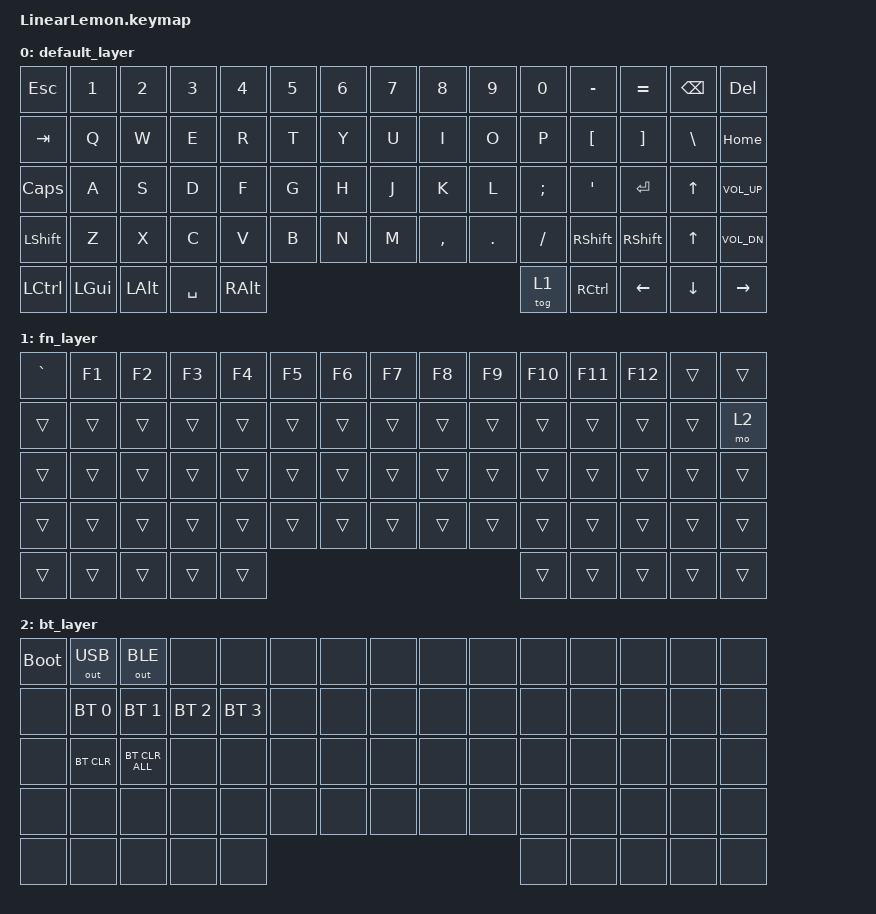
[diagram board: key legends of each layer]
#include <behaviors.dtsi>
#include <dt-bindings/zmk/bt.h>
#include <dt-bindings/zmk/keys.h>
#include <dt-bindings/zmk/outputs.h>


/ {
    keymap {
        compatible = "zmk,keymap";

        default_layer {
            bindings = <
    &kp ESC   &kp N1   &kp N2   &kp N3    &kp N4 &kp N5  &kp N6  &kp N7   &kp N8   &kp N9     &kp N0    &kp MINUS &kp EQUAL &kp BSPC &kp DEL
    &kp TAB   &kp Q    &kp W    &kp E     &kp R  &kp T   &kp Y   &kp U    &kp I     &kp O     &kp P     &kp LBKT  &kp RBKT  &kp BSLH &kp HOME
    &kp CAPSLOCK &kp A &kp S    &kp D     &kp F  &kp G   &kp H   &kp J    &kp K     &kp L     &kp SEMI  &kp SQT   &kp RET   &kp UP   &kp C_VOL_UP 
    &kp LSHFT &kp Z    &kp X    &kp C     &kp V  &kp B   &kp N   &kp M    &kp COMMA &kp DOT   &kp FSLH  &kp RSHFT &kp RSHFT &kp UP   &kp C_VOL_DN
    &kp LCTRL &kp LGUI &kp LALT                          &kp SPACE                  &kp RALT  &tog 1    &kp RCTRL &kp LEFT  &kp DOWN &kp RIGHT
            >;
        };

    fn_layer {
        bindings = <
    &kp GRAVE  &kp F1       &kp F2       &kp F3       &kp F4 &kp F5 &kp F6 /**/ &kp F7 &kp F8 &kp F9 &kp F10 &kp F11 &kp F12 &trans &trans
    &trans     &trans       &trans      &trans       &trans &trans        /**/ &trans &trans &trans &trans  &trans  &trans  &trans &trans &mo 2
    &trans     &trans       &trans       &trans       &trans &trans        /**/ &trans &trans &trans &trans  &trans  &trans  &trans &trans  &trans
    &trans     &trans       &trans       &trans       &trans &trans        /**/ &trans &trans &trans &trans  &trans  &trans  &trans &trans  &trans
    &trans     &trans       &trans       &trans       &trans               /**/ &trans &trans &trans &trans  &trans  
            >;
        };

        bt_layer {
            bindings = <
    &bootloader &out OUT_USB  &out OUT_BLE &none &none &none &none /**/ &none &none &none &none &none &none &none &none
    &none     &bt BT_SEL 0  &bt BT_SEL 1 &bt BT_SEL 2 &bt BT_SEL 3 &none     /**/ &none &none &none &none  &none  &none  &none &none &none
    &none     &bt BT_CLR    &bt BT_CLR_ALL       &none       &none &none       /**/ &none &none &none &none  &none  &none  &none &none &none
    &none     &none         &none       &none       &none &none       /**/ &none &none &none &none  &none  &none  &none &none &none
    &none     &none         &none       &none       &none             /**/ &none &none &none &none  &none  
            >;
        };
    };
};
